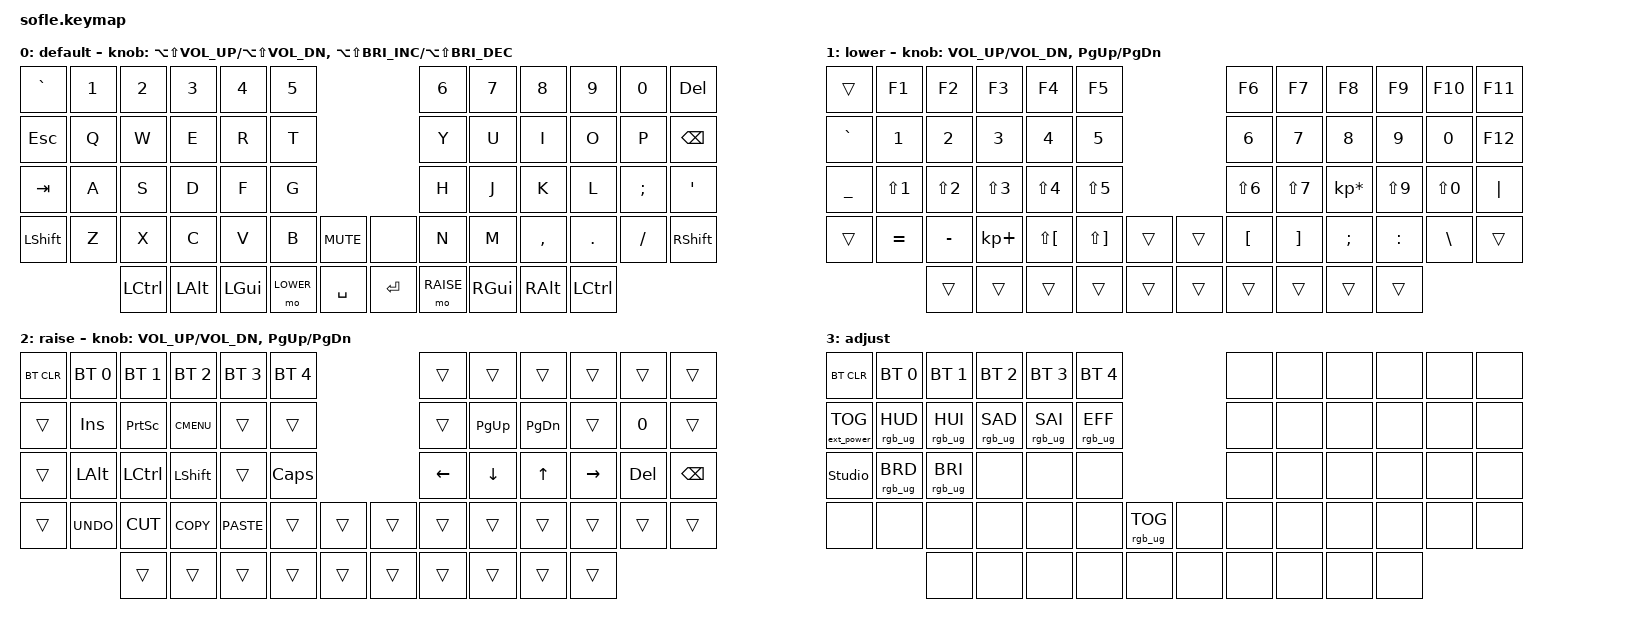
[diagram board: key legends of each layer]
/*
 * Copyright (c) 2020 The ZMK Contributors
 *
 * SPDX-License-Identifier: MIT
 */

#include <behaviors.dtsi>
#include <dt-bindings/zmk/bt.h>
#include <dt-bindings/zmk/ext_power.h>
#include <dt-bindings/zmk/keys.h>
#include <dt-bindings/zmk/rgb.h>

#define BASE 0
#define LOWER 1
#define RAISE 2
#define ADJUST 3

/ {
    // Activate ADJUST layer by pressing raise and lower

    conditional_layers {
        compatible = "zmk,conditional-layers";

        adjust_layer {
            if-layers = <LOWER RAISE>;
            then-layer = <ADJUST>;
        };
    };

    keymap {
        compatible = "zmk,keymap";

        default_layer {
            display-name = "default";

            // ------------------------------------------------------------------------------------------------------------
            // |   `   |  1  |  2  |  3   |  4   |  5   |                   |  6   |  7    |  8    |  9   |   0   |       |
            // |  ESC  |  Q  |  W  |  E   |  R   |  T   |                   |  Y   |  U    |  I    |  O   |   P   | BKSPC |
            // |  TAB  |  A  |  S  |  D   |  F   |  G   |                   |  H   |  J    |  K    |  L   |   ;   |   '   |
            // | SHIFT |  Z  |  X  |  C   |  V   |  B   |  MUTE  |  |       |  N   |  M    |  ,    |  .   |   /   | SHIFT |
            //               | GUI | ALT  | CTRL | LOWER|  ENTER |  | SPACE | RAISE| CTRL  | ALT   | GUI  |

            bindings = <
&kp GRAVE  &kp N1  &kp N2     &kp N3    &kp N4        &kp N5                            &kp N6     &kp N7    &kp N8     &kp N9     &kp N0    &kp DELETE
&kp ESC    &kp Q   &kp W      &kp E     &kp R         &kp T                             &kp Y      &kp U     &kp I      &kp O      &kp P     &kp BSPC
&kp TAB    &kp A   &kp S      &kp D     &kp F         &kp G                             &kp H      &kp J     &kp K      &kp L      &kp SEMI  &kp SQT
&kp LSHFT  &kp Z   &kp X      &kp C     &kp V         &kp B      &kp C_MUTE    &none    &kp N      &kp M     &kp COMMA  &kp DOT    &kp FSLH  &kp RSHFT
                   &kp LCTRL  &kp LALT  &kp LEFT_GUI  &mo LOWER  &kp SPACE     &kp RET  &mo RAISE  &kp RGUI  &kp RALT   &kp LCTRL
            >;

            sensor-bindings =
                <&inc_dec_kp LA(LS(C_VOL_UP)) LA(LS(C_VOL_DN))>,
                <&inc_dec_kp LA(LS(C_BRIGHTNESS_INC)) LA(LS(C_BRIGHTNESS_DEC))>;
        };

        lower_layer {
            display-name = "lower";

            // TODO: Some binds are waiting for shifted keycode support.
            // ------------------------------------------------------------------------------------------------------------
            // |       |  F1 |  F2 |  F3  |  F4  |  F5  |                   |  F6  |  F7   |  F8   |  F9  |  F10  |  F11  |
            // |   `   |  1  |  2  |  3   |  4   |  5   |                   |  6   |  7    |  8    |  9   |   0   |  F12  |
            // |       |  !  |  @  |  #   |  $   |  %   |                   |  ^   |  &    |  *    |  (   |   )   |   |   |
            // |       |  =  |  -  |  +   |  {   |  }   |        |  |       |  [   |  ]    |  ;    |  :   |   \   |       |
            //               |     |      |      |      |        |  |       |      |       |       |      |

            bindings = <
&trans          &kp F1      &kp F2      &kp F3       &kp F4        &kp F5                          &kp F6      &kp F7      &kp F8           &kp F9      &kp F10     &kp F11
&kp GRAVE       &kp N1      &kp N2      &kp N3       &kp N4        &kp N5                          &kp N6      &kp N7      &kp N8           &kp N9      &kp N0      &kp F12
&kp UNDERSCORE  &kp LS(N1)  &kp LS(N2)  &kp LS(N3)   &kp LS(N4)    &kp LS(N5)                      &kp LS(N6)  &kp LS(N7)  &kp KP_MULTIPLY  &kp LS(N9)  &kp LS(N0)  &kp PIPE
&trans          &kp EQUAL   &kp MINUS   &kp KP_PLUS  &kp LS(LBKT)  &kp LS(RBKT)  &trans    &trans  &kp LBKT    &kp RBKT    &kp SEMI         &kp COLON   &kp BSLH    &trans
                            &trans      &trans       &trans        &trans        &trans    &trans  &trans      &trans      &trans           &trans
            >;

            sensor-bindings = <&inc_dec_kp C_VOL_UP C_VOL_DN &inc_dec_kp PG_UP PG_DN>;
        };

        raise_layer {
            display-name = "raise";

            // ------------------------------------------------------------------------------------------------------------
            // | BTCLR | BT1  | BT2  |  BT3  |  BT4  |  BT5 |                |      |      |       |      |       |       |
            // |       | INS  | PSCR | GUI   |       |      |                | PGUP |      |   ^   |      |       |       |
            // |       | ALT  | CTRL | SHIFT |       | CAPS |                | PGDN |   <- |   v   |  ->  |  DEL  | BKSPC |
            // |       | UNDO | CUT  | COPY  | PASTE |      |      |  |      |      |      |       |      |       |       |
            //                |      |       |       |      |      |  |      |      |      |       |      |

            bindings = <
&bt BT_CLR  &bt BT_SEL 0  &bt BT_SEL 1  &bt BT_SEL 2  &bt BT_SEL 3  &bt BT_SEL 4                    &trans    &trans     &trans     &trans     &trans   &trans
&trans      &kp INS       &kp PSCRN     &kp K_CMENU   &trans        &trans                          &trans    &kp PG_UP  &kp PG_DN  &trans     &kp N0   &trans
&trans      &kp LALT      &kp LCTRL     &kp LSHFT     &trans        &kp CLCK                        &kp LEFT  &kp DOWN   &kp UP     &kp RIGHT  &kp DEL  &kp BSPC
&trans      &kp K_UNDO    &kp K_CUT     &kp K_COPY    &kp K_PASTE   &trans        &trans    &trans  &trans    &trans     &trans     &trans     &trans   &trans
                          &trans        &trans        &trans        &trans        &trans    &trans  &trans    &trans     &trans     &trans
            >;

            sensor-bindings = <&inc_dec_kp C_VOL_UP C_VOL_DN &inc_dec_kp PG_UP PG_DN>;
        };

        adjust_layer {
            // ----------------------------------------------------------------------------------------------------------------------------
            // | BTCLR  |  BT1    |  BT2    |   BT3   |   BT4   |   BT5   |                  |      |      |       |      |       |       |
            // | EXTPWR | RGB_HUD | RGB_HUI | RGB_SAD | RGB_SAI | RGB_EFF |                  |      |      |       |      |       |       |
            // |        | RGB_BRD | RGB_BRI |         |         |         |                  |      |      |       |      |       |       |
            // |        |         |         |         |         |         | RGB_TOG | |      |      |      |       |      |       |       |
            //                    |         |         |         |         |         | |      |      |      |       |      |

            display-name = "adjust";
            bindings = <
&bt BT_CLR         &bt BT_SEL 0     &bt BT_SEL 1     &bt BT_SEL 2     &bt BT_SEL 3     &bt BT_SEL 4                               &none  &none  &none  &none  &none  &none
&ext_power EP_TOG  &rgb_ug RGB_HUD  &rgb_ug RGB_HUI  &rgb_ug RGB_SAD  &rgb_ug RGB_SAI  &rgb_ug RGB_EFF                            &none  &none  &none  &none  &none  &none
&studio_unlock     &rgb_ug RGB_BRD  &rgb_ug RGB_BRI  &none            &none            &none                                      &none  &none  &none  &none  &none  &none
&none              &none            &none            &none            &none            &none            &rgb_ug RGB_TOG    &none  &none  &none  &none  &none  &none  &none
                                    &none            &none            &none            &none            &none              &none  &none  &none  &none  &none
            >;
        };
    };
};
